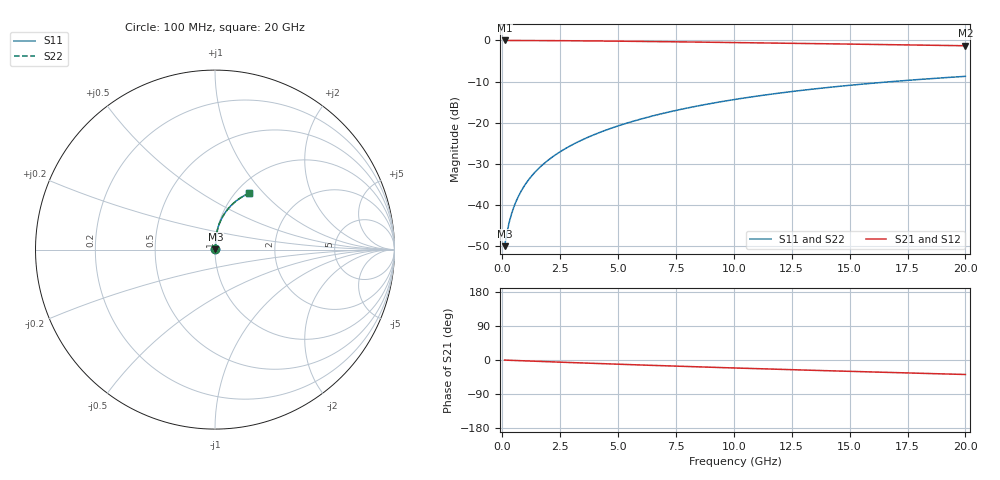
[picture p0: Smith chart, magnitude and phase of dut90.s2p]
! Touchstone file exported from HFSS 2024.1.0
!  File:  C:/UserFiles/LocalFiles/RDL_TSV_Batchsim/temp_RDL_top_90_1778682825.aedt
!  Generated:  10:36:09 PM May 13, 2026
!  Design:  RDL_top
!  Project:  temp_RDL_top_90_1778682825
!  Setup:  Setup1
!  Solution:  Sweep
! Variables:
!  dtsv = 10.80580581um
!  hbump = 3um
!  htsv = 72.88um
!  ldown = 100um
!  lrdl = 514.95um
!  p = 40
!  p1 = 54.66um
!  rhole = 1um
!  t = 450um
!  tdown = 3.915915916um
!  trdl = 3.46um
!  wdown = 15.38538539um
!  wrdl = 22.59um
# GHz S MA R 50.000000
! Terminal data exported
! Port[1] = Box2_T1
! Port[2] = Box2_T2
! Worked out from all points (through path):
!   200 points, 100 MHz to 20 GHz, reference 50 ohm
!   highest |S21| = -0.02 dB at 100 MHz (marker M1); lowest = -1.3 dB at 20 GHz (marker M2)
!   group delay of S21, straight-line fit = 5.26 ps
!   lowest |S11| = -49.9 dB at 100 MHz (marker M3), VSWR 1.01, Z = 50.3 + j0.193 ohm
!   |S11| at or under -10 dB: start of sweep to 16.83 GHz
!   |S22| runs from -49.9 to -8.7 dB; largest |S21 - S12| = 2.7e-15
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0.1  0.003187 37.1  0.9975 -0.2  0.9975 -0.2  0.003187 37.1
! Gamma 0 0 0 0
! Port Impedance 50 0 50 0
0.2  0.004625 54.9  0.9973 -0.5  0.9973 -0.5  0.004625 54.9
0.3  0.006233 63.5  0.9971 -0.7  0.9971 -0.7  0.006233 63.4
0.4  0.007876 68.4  0.997 -0.9  0.997 -0.9  0.007876 68.4
0.5  0.009533 71.8  0.9968 -1.2  0.9968 -1.2  0.009533 71.8
0.6  0.0112 74.2  0.9967 -1.4  0.9967 -1.4  0.0112 74.2
0.8  0.01458 77.5  0.9963 -1.9  0.9963 -1.9  0.01458 77.5
1.1  0.01973 80.4  0.9958 -2.5  0.9958 -2.5  0.01973 80.4
1.5  0.0267 82.6  0.9949 -3.5  0.9949 -3.5  0.0267 82.5
1.8  0.032 83.5  0.994 -4.1  0.994 -4.1  0.032 83.5
2.1  0.03735 84.1  0.993 -4.8  0.993 -4.8  0.03735 84.1
2.7  0.04821 84.7  0.9907 -6.2  0.9907 -6.2  0.0482 84.7
3.5  0.06301 84.9  0.9869 -7.9  0.9869 -7.9  0.063 84.9
4.2  0.07625 84.7  0.983 -9.4  0.983 -9.4  0.07624 84.6
5  0.09169 84.1  0.978 -11.1  0.978 -11.1  0.09168 84.0
6.8  0.1273 81.9  0.9655 -14.8  0.9655 -14.8  0.1273 81.9
8.4  0.1593 79.4  0.9536 -18.0  0.9536 -18.0  0.1593 79.4
10.1  0.1931 76.5  0.9404 -21.2  0.9404 -21.2  0.1931 76.5
11.7  0.2243 73.6  0.9277 -24.1  0.9277 -24.1  0.2242 73.6
13.4  0.2562 70.5  0.9141 -27.2  0.9141 -27.2  0.2561 70.5
16.7  0.3141 64.5  0.8874 -32.8  0.8874 -32.8  0.314 64.5
20  0.3661 58.9  0.8606 -38.2  0.8606 -38.2  0.3659 58.9
